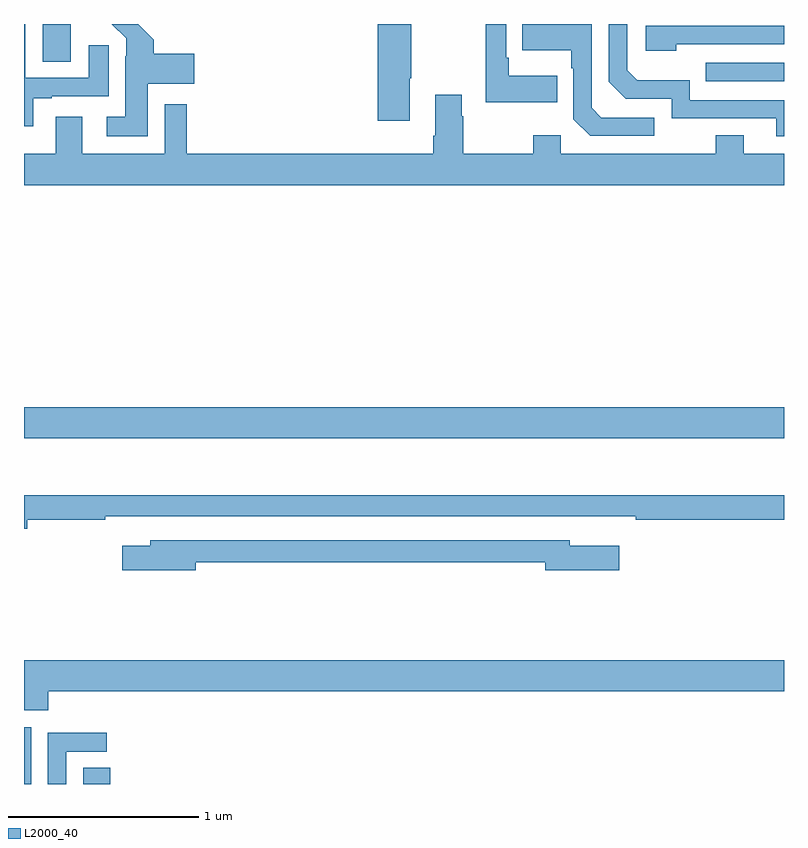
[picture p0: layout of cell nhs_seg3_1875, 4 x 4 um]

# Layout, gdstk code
import gdstk
lib = gdstk.Library(unit=1e-6, precision=1e-09)
def R(c, l, rs):  # rectangles x0, y0, x1, y1
    for r in rs: c.add(gdstk.rectangle(r[:2], r[2:], *l))
def P(c, l, *ps):  # polygons
    for p in ps: c.add(gdstk.Polygon(p, *l))
L2000_40 = (2000, 40)

nhs_seg3_1875 = lib.new_cell('nhs_seg3_1875')
R(nhs_seg3_1875, L2000_40, [(207,728.4,207.037,728.698), (207.311,728.4,207.455,728.486), (207,730.22,211,730.384), (210.589,732.099,211,732.195), (207.098,732.202,207.247,732.4)])
P(nhs_seg3_1875, L2000_40, [(210.316,731.907),(210.039,731.907),(209.988,731.958),(209.988,732.4),(209.623,732.4),(209.623,732.263),(209.88,732.263),(209.88,732.167),(209.892,732.167),(209.892,731.898),(209.979,731.811),(210.316,731.811)],
  [(209.029,732.115),(209.037,732.115),(209.037,732.4),(208.862,732.4),(208.862,731.892),(209.029,731.892)],
  [(209.807,732.127),(209.551,732.127),(209.551,732.223),(209.538,732.223),(209.538,732.4),(209.43,732.4),(209.43,731.987),(209.807,731.987)],
  [(211,732),(210.504,732),(210.504,732.103),(210.227,732.103),(210.174,732.156),(210.174,732.4),(210.078,732.4),(210.078,732.096),(210.168,732.006),(210.408,732.006),(210.408,731.904),(210.959,731.904),(210.959,731.808),(211,731.808)],
  [(207.652,732.086),(207.895,732.086),(207.895,732.244),(207.683,732.244),(207.683,732.318),(207.601,732.4),(207.463,732.4),(207.463,732.398),(207.537,732.324),(207.537,732.23),(207.533,732.23),(207.533,731.911),(207.435,731.911),(207.435,731.81),(207.652,731.81)],
  [(207.049,732.009),(207.145,732.009),(207.145,732.021),(207.445,732.021),(207.445,732.289),(207.341,732.289),(207.341,732.117),(207.007,732.117),(207.007,732.4),(207,732.4),(207,731.862),(207.049,731.862)],
  [(210.434,732.294),(211,732.294),(211,732.39),(210.273,732.39),(210.273,732.26),(210.434,732.26)],
  [(207.167,731.911),(207.167,731.716),(207,731.716),(207,731.552),(211,731.552),(211,731.716),(210.787,731.716),(210.787,731.815),(210.64,731.815),(210.64,731.716),(209.826,731.716),(209.826,731.815),(209.68,731.815),(209.68,731.716),(209.313,731.716),(209.313,731.915),(209.305,731.915),(209.305,732.028),(209.165,732.028),(209.165,731.812),(209.153,731.812),(209.153,731.716),(207.857,731.716),(207.857,731.977),(207.741,731.977),(207.741,731.716),(207.307,731.716),(207.307,731.911)],
  [(207.016,729.79),(207.428,729.79),(207.428,729.81),(209.968,729.81),(209.968,729.809),(210.22,729.809),(210.22,729.79),(211,729.79),(211,729.919),(207,729.919),(207,729.743),(207.016,729.743)],
  [(207.904,729.568),(209.744,729.568),(209.744,729.526),(210.133,729.526),(210.133,729.655),(209.872,729.655),(209.872,729.684),(207.665,729.684),(207.665,729.655),(207.516,729.655),(207.516,729.526),(207.904,729.526)],
  [(207.128,728.888),(211,728.888),(211,729.052),(207,729.052),(207,728.789),(207.128,728.789)],
  [(207.222,728.571),(207.436,728.571),(207.436,728.67),(207.126,728.67),(207.126,728.4),(207.222,728.4)])

lib.write_gds('nhs_seg3_1875.gds')
